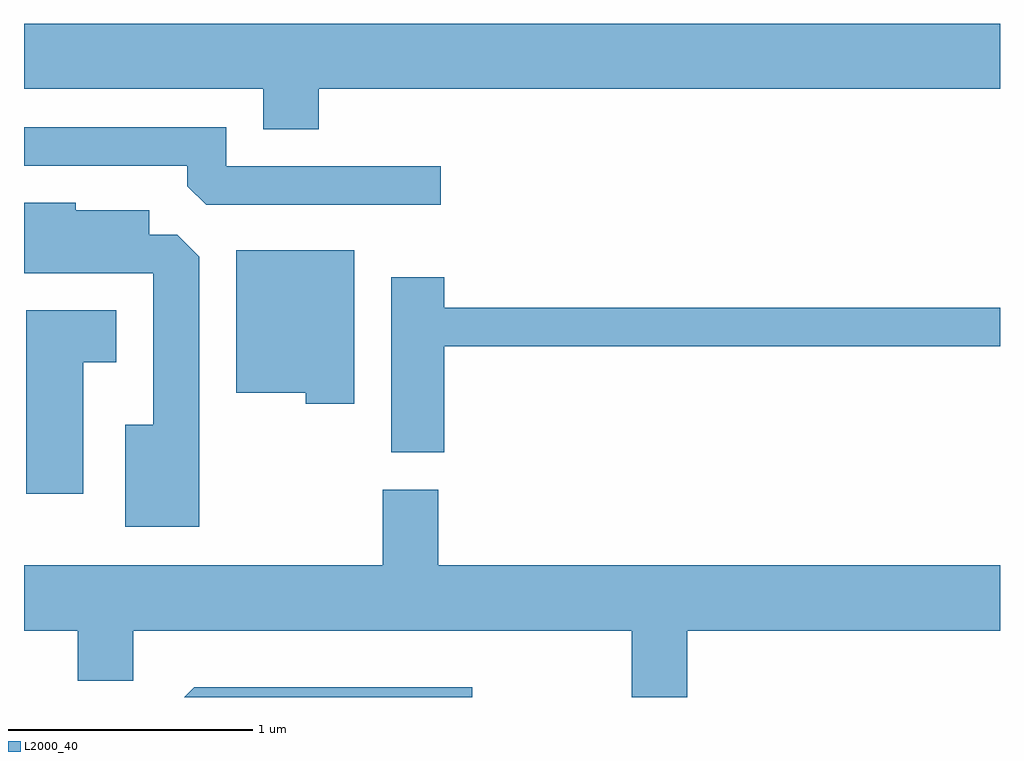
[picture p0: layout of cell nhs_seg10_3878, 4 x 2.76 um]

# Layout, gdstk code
import gdstk
lib = gdstk.Library(unit=1e-6, precision=1e-09)
def P(c, l, *ps):  # polygons
    for p in ps: c.add(gdstk.Polygon(p, *l))
L2000_40 = (2000, 40)

nhs_seg10_3878 = lib.new_cell('nhs_seg10_3878')
P(nhs_seg10_3878, L2000_40, [(300.819,2125.016),(303.611,2125.016),(303.611,2125.284),(299.611,2125.284),(299.611,2125.016),(300.591,2125.016),(300.591,2124.851),(300.819,2124.851)],
  [(301.318,2124.699),(300.439,2124.699),(300.439,2124.859),(299.611,2124.859),(299.611,2124.701),(300.281,2124.701),(300.281,2124.617),(300.357,2124.541),(301.318,2124.541)],
  [(300.329,2124.329),(300.239,2124.419),(300.124,2124.419),(300.124,2124.519),(299.824,2124.519),(299.824,2124.549),(299.611,2124.549),(299.611,2124.261),(300.141,2124.261),(300.141,2123.639),(300.026,2123.639),(300.026,2123.221),(300.329,2123.221)],
  [(300.964,2124.354),(300.481,2124.354),(300.481,2123.771),(300.766,2123.771),(300.766,2123.726),(300.964,2123.726)],
  [(301.334,2123.961),(303.611,2123.961),(303.611,2124.119),(301.334,2124.119),(301.334,2124.244),(301.116,2124.244),(301.116,2123.526),(301.334,2123.526)],
  [(299.854,2123.896),(299.989,2123.896),(299.989,2124.109),(299.621,2124.109),(299.621,2123.356),(299.854,2123.356)],
  [(302.329,2122.796),(303.611,2122.796),(303.611,2123.064),(301.309,2123.064),(301.309,2123.374),(301.081,2123.374),(301.081,2123.064),(299.611,2123.064),(299.611,2122.796),(299.831,2122.796),(299.831,2122.591),(300.059,2122.591),(300.059,2122.796),(302.101,2122.796),(302.101,2122.522),(302.329,2122.522)],
  [(301.448,2122.564),(300.309,2122.564),(300.267,2122.522),(301.448,2122.522)])

lib.write_gds('nhs_seg10_3878.gds')
